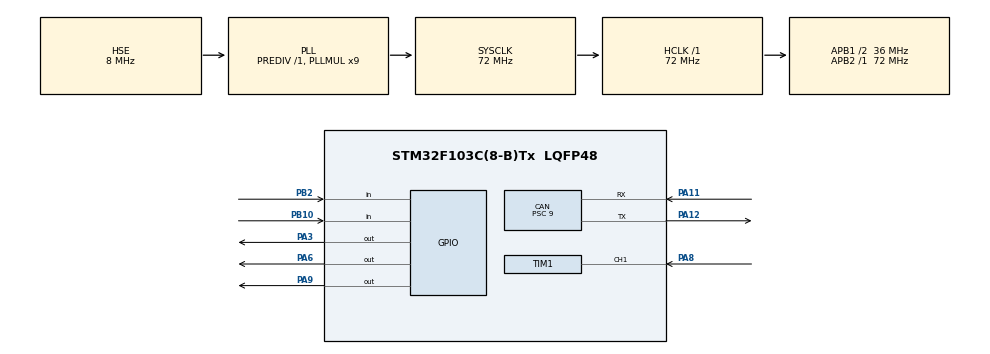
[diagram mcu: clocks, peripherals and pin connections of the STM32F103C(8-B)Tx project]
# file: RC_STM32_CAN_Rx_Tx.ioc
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CAN.BS1=CAN_BS1_3TQ
CAN.BS2=CAN_BS2_4TQ
CAN.CalculateBaudRate=500000
CAN.CalculateTimeBit=2000
CAN.CalculateTimeQuantum=250.0
CAN.Prescaler=9
Mcu.Family=STM32F1
Mcu.Name=STM32F103C(8-B)Tx
Mcu.Package=LQFP48
NVIC.PriorityGroup=NVIC_PRIORITYGROUP_4
NVIC.TIM1_CC_IRQn=true\:0\:0\:false\:false\:true\:true\:true\:true
NVIC.TIM2_IRQn=true\:0\:0\:false\:false\:true\:true\:true\:true
NVIC.USB_LP_CAN1_RX0_IRQn=true\:0\:0\:false\:false\:true\:true\:true\:true
PA11.Mode=CAN_Activate
PA11.Signal=CAN_RX
PA12.Mode=CAN_Activate
PA12.Signal=CAN_TX
PA3.Signal=GPIO_Output
PA6.Signal=GPIO_Output
PA8.Signal=S_TIM1_CH1
PA9.Signal=GPIO_Output
PB10.Signal=GPIO_Input
PB2.Signal=GPIO_Input
PD0-OSC_IN.Mode=HSE-External-Oscillator
PD0-OSC_IN.Signal=RCC_OSC_IN
PD1-OSC_OUT.Mode=HSE-External-Oscillator
PD1-OSC_OUT.Signal=RCC_OSC_OUT
ProjectManager.HeapSize=0x200
ProjectManager.StackSize=0x400
ProjectManager.TargetToolchain=STM32CubeIDE
RCC.AHBFreq_Value=72000000
RCC.APB1CLKDivider=RCC_HCLK_DIV2
RCC.APB1Freq_Value=36000000
RCC.APB1TimFreq_Value=72000000
RCC.APB2Freq_Value=72000000
RCC.APB2TimFreq_Value=72000000
RCC.HCLKFreq_Value=72000000
RCC.PLLMUL=RCC_PLL_MUL9
RCC.PLLSourceVirtual=RCC_PLLSOURCE_HSE
RCC.SYSCLKFreq_VALUE=72000000
RCC.SYSCLKSource=RCC_SYSCLKSOURCE_PLLCLK
RCC.USBFreq_Value=72000000
SH.S_TIM1_CH1.0=TIM1_CH1,Input_Capture1_from_TI1
TIM1.Channel-Input_Capture1_from_TI1=TIM_CHANNEL_1
TIM1.Period=0xffff-1
TIM1.Prescaler=72-1
TIM2.Period=800
TIM2.Prescaler=35999
VP_SYS_VS_ND.Mode=No_Debug
VP_TIM2_VS_ClockSourceINT.Mode=Internal
board=custom

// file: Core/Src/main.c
/* USER CODE BEGIN Header */
/**
  ******************************************************************************
  * @file           : main.c
  * @brief          : Main program body
  ******************************************************************************
  * @attention
  *
  * <h2><center>&copy; Copyright (c) 2020 STMicroelectronics.
  * All rights reserved.</center></h2>
  *
  * This software component is licensed by ST under BSD 3-Clause license,
  * the "License"; You may not use this file except in compliance with the
  * License. You may obtain a copy of the License at:
  *                        opensource.org/licenses/BSD-3-Clause
  *
  ******************************************************************************
  */
/* USER CODE END Header */
#include "main.h"

/* USER CODE BEGIN Includes */
#include "defines.h"
/* USER CODE END Includes */

/* USER CODE BEGIN PTD */
void HCSR04_Read(void);

/* USER CODE END PTD */

/* USER CODE BEGIN PM */

// Pin definitions
#define BLINKER_PIN GPIO_PIN_3
#define BLINKER_PORT GPIOA

#define LIGHT_PIN GPIO_PIN_6
#define LIGHT_PORT GPIOA

#define PLACE_PIN_FRONT GPIO_PIN_10
#define PLACE__PIN_LEFT GPIO_PIN_11
#define PLACE_PORT GPIOB

#define TRIG_PIN GPIO_PIN_9
#define TRIG_PORT GPIOA

/* USER CODE END PM */

CAN_HandleTypeDef hcan;

TIM_HandleTypeDef htim1;
TIM_HandleTypeDef htim2;

/* USER CODE BEGIN PV */

uint8_t Placement = 0;

uint8_t flag_send_data = 0;
uint8_t flag_blink_light = 1;
uint8_t flag_read_dist_sensor = 0;
uint8_t flag_tx_sensor_data = 0;
uint8_t flag_hcsr04_first_captured = 0;
uint8_t flag_send_test_msg = 0;

uint32_t light_status = 0;
uint32_t blink_status = 0;
uint32_t msg_counter = 0;

// Variables
uint32_t IC_Val1 = 0;
uint32_t IC_Val2 = 0;
uint32_t Difference = 0;
uint8_t hcsr04_dist  = 0;

CAN_RxHeaderTypeDef rxHeader; 		   //CAN Bus Transmit Header
CAN_TxHeaderTypeDef txHeader;		   //CAN Bus Receive Header
uint8_t canRX[8] = {0,0,0,0,0,0,0,0};  //CAN Bus Receive Buffer
CAN_FilterTypeDef canfil; 			   //CAN Bus Filter
uint32_t canMailbox; 				   //CAN Bus Mail box variable

/* USER CODE END PV */

void SystemClock_Config(void);
static void MX_GPIO_Init(void);
static void MX_CAN_Init(void);
static void MX_TIM2_Init(void);
static void MX_TIM1_Init(void);

/* USER CODE BEGIN 0 */

void delay (uint16_t time)
{
	__HAL_TIM_SET_COUNTER(&htim1, 0);
	while (__HAL_TIM_GET_COUNTER (&htim1) < time);
}

/* USER CODE END 0 */

int main(void)
{

  /* MCU Configuration--------------------------------------------------------*/

  /* Reset of all peripherals, Initializes the Flash interface and the Systick. */
  HAL_Init();

  /* Configure the system clock */
  SystemClock_Config();

  /* Initialize all configured peripherals */
  MX_GPIO_Init();
  MX_CAN_Init();
  MX_TIM2_Init();
  MX_TIM1_Init();
  /* USER CODE BEGIN 2 */
  HAL_TIM_IC_Start_IT(&htim1, TIM_CHANNEL_1);
  HAL_TIM_Base_Start_IT(&htim2);

  canfil.FilterBank = 0;
  canfil.FilterMode = CAN_FILTERMODE_IDMASK;
  canfil.FilterFIFOAssignment = CAN_RX_FIFO0;
  canfil.FilterIdHigh = 0;
  canfil.FilterIdLow = 0;
  canfil.FilterMaskIdHigh = 0;
  canfil.FilterMaskIdLow = 0;
  canfil.FilterScale = CAN_FILTERSCALE_32BIT;
  canfil.FilterActivation = ENABLE;
  canfil.SlaveStartFilterBank = 14;

  txHeader.DLC = 8;
  txHeader.IDE = CAN_ID_STD;
  txHeader.RTR = CAN_RTR_DATA;
  txHeader.StdId = CAN_TEST_MSG_ID;
  txHeader.ExtId = 0x02;
  txHeader.TransmitGlobalTime = DISABLE;

  HAL_CAN_ConfigFilter(&hcan,&canfil);
  HAL_CAN_Start(&hcan);
  HAL_CAN_ActivateNotification(&hcan,CAN_IT_RX_FIFO0_MSG_PENDING);

  if (HAL_GPIO_ReadPin(PLACE_PORT, PLACE_PIN_FRONT)) {
	  Placement += 1;
  }
  if (HAL_GPIO_ReadPin(PLACE_PORT, PLACE__PIN_LEFT)) {
	  Placement += 2;
  }

  /* USER CODE END 2 */

  /* Infinite loop */
  /* USER CODE BEGIN WHILE */
  while (1)
  {
	  if (flag_blink_light && blink_status) {
		  HAL_GPIO_WritePin(BLINKER_PORT, BLINKER_PIN, GPIO_PIN_SET);
	  } else {
		  HAL_GPIO_WritePin(BLINKER_PORT, BLINKER_PIN, GPIO_PIN_RESET);
	  }
	  if (light_status) {
		  HAL_GPIO_WritePin(LIGHT_PORT, LIGHT_PIN, GPIO_PIN_SET);
	  } else {
		  HAL_GPIO_WritePin(LIGHT_PORT, LIGHT_PIN, GPIO_PIN_RESET);
	  }
	  if (flag_send_test_msg && flag_send_data) {
		  txHeader.DLC = 8;
		  txHeader.StdId = CAN_TEST_MSG_ID;
		  uint8_t csend[] = {0x01,0x02,0x03,0x04,0x05,0x06,0x07,0x08};
		  HAL_CAN_AddTxMessage(&hcan,&txHeader,csend,&canMailbox);

	  }
	  if (flag_send_data) {
		  flag_send_data = 0;
	  }
	  if (flag_read_dist_sensor) {
		  flag_read_dist_sensor = 0;
		  HCSR04_Read();
	  }
	  if (flag_tx_sensor_data) {
		  flag_tx_sensor_data = 0;
		  txHeader.DLC = 8;
		  uint8_t csend[] = {Placement,SENSOR_HCSR,0x00,0x00,0x00,0x00,0x00,hcsr04_dist};
		  txHeader.StdId = CAN_SENSOR_DATA_ID;
		  HAL_CAN_AddTxMessage(&hcan,&txHeader,csend,&canMailbox);
	  }
    /* USER CODE END WHILE */

  }
}

void SystemClock_Config(void)
{
  RCC_OscInitTypeDef RCC_OscInitStruct = {0};
  RCC_ClkInitTypeDef RCC_ClkInitStruct = {0};

  /** Initializes the RCC Oscillators according to the specified parameters
  * in the RCC_OscInitTypeDef structure.
  */
  RCC_OscInitStruct.OscillatorType = RCC_OSCILLATORTYPE_HSE;
  RCC_OscInitStruct.HSEState = RCC_HSE_ON;
  RCC_OscInitStruct.HSEPredivValue = RCC_HSE_PREDIV_DIV1;
  RCC_OscInitStruct.HSIState = RCC_HSI_ON;
  RCC_OscInitStruct.PLL.PLLState = RCC_PLL_ON;
  RCC_OscInitStruct.PLL.PLLSource = RCC_PLLSOURCE_HSE;
  RCC_OscInitStruct.PLL.PLLMUL = RCC_PLL_MUL9;
  if (HAL_RCC_OscConfig(&RCC_OscInitStruct) != HAL_OK)
  {
    Error_Handler();
  }

  /** Initializes the CPU, AHB and APB buses clocks
  */
  RCC_ClkInitStruct.ClockType = RCC_CLOCKTYPE_HCLK|RCC_CLOCKTYPE_SYSCLK
                              |RCC_CLOCKTYPE_PCLK1|RCC_CLOCKTYPE_PCLK2;
  RCC_ClkInitStruct.SYSCLKSource = RCC_SYSCLKSOURCE_PLLCLK;
  RCC_ClkInitStruct.AHBCLKDivider = RCC_SYSCLK_DIV1;
  RCC_ClkInitStruct.APB1CLKDivider = RCC_HCLK_DIV2;
  RCC_ClkInitStruct.APB2CLKDivider = RCC_HCLK_DIV1;

  if (HAL_RCC_ClockConfig(&RCC_ClkInitStruct, FLASH_LATENCY_2) != HAL_OK)
  {
    Error_Handler();
  }
}

static void MX_CAN_Init(void)
{

  hcan.Instance = CAN1;
  hcan.Init.Prescaler = 9;
  hcan.Init.Mode = CAN_MODE_NORMAL;
  hcan.Init.SyncJumpWidth = CAN_SJW_1TQ;
  hcan.Init.TimeSeg1 = CAN_BS1_3TQ;
  hcan.Init.TimeSeg2 = CAN_BS2_4TQ;
  hcan.Init.TimeTriggeredMode = DISABLE;
  hcan.Init.AutoBusOff = DISABLE;
  hcan.Init.AutoWakeUp = DISABLE;
  hcan.Init.AutoRetransmission = DISABLE;
  hcan.Init.ReceiveFifoLocked = DISABLE;
  hcan.Init.TransmitFifoPriority = DISABLE;
  if (HAL_CAN_Init(&hcan) != HAL_OK)
  {
    Error_Handler();
  }

}

static void MX_TIM1_Init(void)
{

  TIM_MasterConfigTypeDef sMasterConfig = {0};
  TIM_IC_InitTypeDef sConfigIC = {0};

  htim1.Instance = TIM1;
  htim1.Init.Prescaler = 72-1;
  htim1.Init.CounterMode = TIM_COUNTERMODE_UP;
  htim1.Init.Period = 0xffff-1;
  htim1.Init.ClockDivision = TIM_CLOCKDIVISION_DIV1;
  htim1.Init.RepetitionCounter = 0;
  htim1.Init.AutoReloadPreload = TIM_AUTORELOAD_PRELOAD_DISABLE;
  if (HAL_TIM_IC_Init(&htim1) != HAL_OK)
  {
    Error_Handler();
  }
  sMasterConfig.MasterOutputTrigger = TIM_TRGO_RESET;
  sMasterConfig.MasterSlaveMode = TIM_MASTERSLAVEMODE_DISABLE;
  if (HAL_TIMEx_MasterConfigSynchronization(&htim1, &sMasterConfig) != HAL_OK)
  {
    Error_Handler();
  }
  sConfigIC.ICPolarity = TIM_INPUTCHANNELPOLARITY_RISING;
  sConfigIC.ICSelection = TIM_ICSELECTION_DIRECTTI;
  sConfigIC.ICPrescaler = TIM_ICPSC_DIV1;
  sConfigIC.ICFilter = 0;
  if (HAL_TIM_IC_ConfigChannel(&htim1, &sConfigIC, TIM_CHANNEL_1) != HAL_OK)
  {
    Error_Handler();
  }

}

static void MX_TIM2_Init(void)
{

  TIM_ClockConfigTypeDef sClockSourceConfig = {0};
  TIM_MasterConfigTypeDef sMasterConfig = {0};

  htim2.Instance = TIM2;
  htim2.Init.Prescaler = 35999;
  htim2.Init.CounterMode = TIM_COUNTERMODE_UP;
  htim2.Init.Period = 800;
  htim2.Init.ClockDivision = TIM_CLOCKDIVISION_DIV1;
  htim2.Init.AutoReloadPreload = TIM_AUTORELOAD_PRELOAD_DISABLE;
  if (HAL_TIM_Base_Init(&htim2) != HAL_OK)
  {
    Error_Handler();
  }
  sClockSourceConfig.ClockSource = TIM_CLOCKSOURCE_INTERNAL;
  if (HAL_TIM_ConfigClockSource(&htim2, &sClockSourceConfig) != HAL_OK)
  {
    Error_Handler();
  }
  sMasterConfig.MasterOutputTrigger = TIM_TRGO_RESET;
  sMasterConfig.MasterSlaveMode = TIM_MASTERSLAVEMODE_DISABLE;
  if (HAL_TIMEx_MasterConfigSynchronization(&htim2, &sMasterConfig) != HAL_OK)
  {
    Error_Handler();
  }

}

static void MX_GPIO_Init(void)
{
  GPIO_InitTypeDef GPIO_InitStruct = {0};

  /* GPIO Ports Clock Enable */
  __HAL_RCC_GPIOD_CLK_ENABLE();
  __HAL_RCC_GPIOA_CLK_ENABLE();
  __HAL_RCC_GPIOB_CLK_ENABLE();

  /*Configure GPIO pin Output Level */
  HAL_GPIO_WritePin(GPIOA, GPIO_PIN_3|GPIO_PIN_6|GPIO_PIN_9, GPIO_PIN_RESET);

  /*Configure GPIO pins : PA3 PA6 PA9 */
  GPIO_InitStruct.Pin = GPIO_PIN_3|GPIO_PIN_6|GPIO_PIN_9;
  GPIO_InitStruct.Mode = GPIO_MODE_OUTPUT_PP;
  GPIO_InitStruct.Pull = GPIO_NOPULL;
  GPIO_InitStruct.Speed = GPIO_SPEED_FREQ_LOW;
  HAL_GPIO_Init(GPIOA, &GPIO_InitStruct);

  /*Configure GPIO pins : PB2 PB10 */
  GPIO_InitStruct.Pin = GPIO_PIN_2|GPIO_PIN_10;
  GPIO_InitStruct.Mode = GPIO_MODE_INPUT;
  GPIO_InitStruct.Pull = GPIO_NOPULL;
  HAL_GPIO_Init(GPIOB, &GPIO_InitStruct);

}

/* USER CODE BEGIN 4 */

void HAL_CAN_RxFifo0MsgPendingCallback(CAN_HandleTypeDef *hcan1)
{
	HAL_CAN_GetRxMessage(hcan1, CAN_RX_FIFO0, &rxHeader, canRX);
	switch (rxHeader.StdId) {
	case CAN_LIGHT_CONTROL_ID:
		if (canRX[0] == 0) {
			flag_blink_light ^= 0x01;
		}
		break;
	case CAN_BLINK_CONTROL_ID:
		if (canRX[0] == 1) {
			light_status = 1;
		} else {
			light_status = 0;
		}
		break;
	case CAN_DEVICE_SETTINGS_ID:
		if (canRX[0] == Placement) {
			if (canRX[1] == 1) {
				flag_send_test_msg = 1;
			} else {
				flag_send_test_msg = 0;
			}
		}
		break;
	}
}

void HAL_TIM_PeriodElapsedCallback(TIM_HandleTypeDef *htim) {
	if (htim->Instance == TIM2) {
		blink_status ^= 0x01;
	}
	msg_counter++;
	if (msg_counter == 5) {
		flag_send_data = 1;
		flag_read_dist_sensor = 1;
		msg_counter = 0;
	}
}

void HAL_TIM_IC_CaptureCallback(TIM_HandleTypeDef *htim) {
	if (htim->Channel == HAL_TIM_ACTIVE_CHANNEL_1) 	{
		if (!flag_hcsr04_first_captured) {
			// if the first value is not captured, set the first captured as true
			// Change the polarity to falling edge
			IC_Val1 = HAL_TIM_ReadCapturedValue(htim, TIM_CHANNEL_1);
			flag_hcsr04_first_captured = 1;  //
			__HAL_TIM_SET_CAPTUREPOLARITY(htim, TIM_CHANNEL_1, TIM_INPUTCHANNELPOLARITY_FALLING);
		} else if (flag_hcsr04_first_captured) {
			IC_Val2 = HAL_TIM_ReadCapturedValue(htim, TIM_CHANNEL_1);
			__HAL_TIM_SET_COUNTER(htim, 0);
			if (IC_Val2 > IC_Val1) {
				Difference = IC_Val2-IC_Val1;
			} else if (IC_Val1 > IC_Val2) {
				Difference = (0xffff - IC_Val1) + IC_Val2;
			}
			hcsr04_dist = Difference * .034/2;
			flag_tx_sensor_data = 1;
			flag_hcsr04_first_captured = 0;
			// set polarity to rising edge, in case it was changed
			__HAL_TIM_SET_CAPTUREPOLARITY(htim, TIM_CHANNEL_1, TIM_INPUTCHANNELPOLARITY_RISING);
			__HAL_TIM_DISABLE_IT(&htim1, TIM_IT_CC1);
		}
	}
}

void HCSR04_Read (void)
{
	HAL_GPIO_WritePin(TRIG_PORT, TRIG_PIN, GPIO_PIN_SET);
	delay(10);  // wait for 10 us
	HAL_GPIO_WritePin(TRIG_PORT, TRIG_PIN, GPIO_PIN_RESET);
	__HAL_TIM_ENABLE_IT(&htim1, TIM_IT_CC1);
}
/* USER CODE END 4 */

void Error_Handler(void)
{
}
